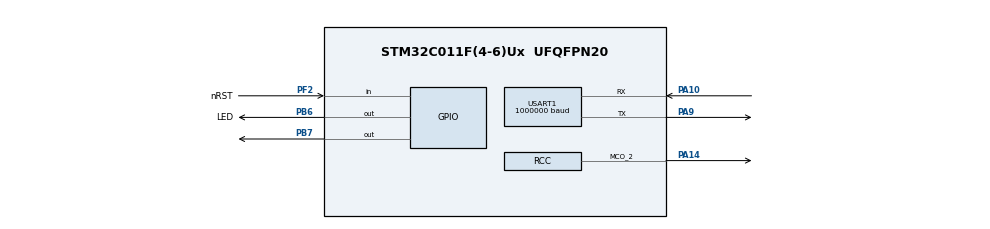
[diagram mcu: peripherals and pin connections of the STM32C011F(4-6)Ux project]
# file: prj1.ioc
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ADC1.Channel-0\#ChannelRegularConversion=ADC_CHANNEL_VREFINT
ADC1.NbrOfConversionFlag=1
ADC1.Rank-0\#ChannelRegularConversion=1
ADC1.SamplingTime-0\#ChannelRegularConversion=ADC_SAMPLINGTIME_COMMON_1
ADC1.SelectedChannel=ADC_CHANNEL_VREFINT
ADC1.master=1
Mcu.Family=STM32C0
Mcu.Name=STM32C011F(4-6)Ux
Mcu.Package=UFQFPN20
NVIC.TIM1_BRK_UP_TRG_COM_IRQn=true\:0\:0\:false\:false\:true\:true\:true\:true
NVIC.USART1_IRQn=true\:0\:0\:false\:false\:true\:true\:true\:true
PA10\ [PA12].GPIO_FMPA10=SYSCFG_FASTMODEPLUS_PA10
PA10\ [PA12].GPIO_ModeDefaultPP=GPIO_MODE_AF_PP
PA10\ [PA12].GPIO_PuPd=GPIO_NOPULL
PA10\ [PA12].GPIO_Speed=GPIO_SPEED_FREQ_VERY_HIGH
PA10\ [PA12].Mode=Asynchronous
PA10\ [PA12].Signal=USART1_RX
PA13.Signal=DEBUG_SWDIO
PA14-BOOT0.GPIO_Speed=GPIO_SPEED_FREQ_VERY_HIGH
PA14-BOOT0.Mode=Clock-out2
PA14-BOOT0.Signal=RCC_MCO_2
PA9\ [PA11].GPIO_FMPA9=SYSCFG_FASTMODEPLUS_PA9
PA9\ [PA11].GPIO_PuPd=GPIO_NOPULL
PA9\ [PA11].GPIO_Speed=GPIO_SPEED_FREQ_VERY_HIGH
PA9\ [PA11].Mode=Asynchronous
PA9\ [PA11].Signal=USART1_TX
PB6.GPIO_Label=LED
PB6.GPIO_Speed=GPIO_SPEED_FREQ_VERY_HIGH
PB6.PinState=GPIO_PIN_RESET
PB6.Signal=GPIO_Output
PB7.Signal=GPIO_Output
PF2-NRST.GPIO_Label=nRST
PF2-NRST.Signal=GPIO_Input
ProjectManager.HeapSize=0x200
ProjectManager.StackSize=0x400
ProjectManager.TargetToolchain=MDK-ARM V5.32
RCC.ADCFreq_Value=48000000
RCC.AHBFreq_Value=48000000
RCC.CortexFreq_Value=48000000
RCC.EXTERNAL_CLOCK_VALUE=12288000
RCC.HCLKFreq_Value=48000000
RCC.HSE_VALUE=8000000
RCC.HSISYSCLKDivider=RCC_HSI_DIV1
RCC.HSI_VALUE=48000000
RCC.LSE_VALUE=32768
RCC.SYSCLKFreq_VALUE=48000000
TIM1.Period=9
TIM1.Prescaler=4799
USART1.BaudRate=1000000
USART1.VirtualMode-Asynchronous=VM_ASYNC
VP_ADC1_Vref_Input.Mode=IN-Vrefint
VP_SYS_VS_PINREMAP.Mode=PINREMAP
VP_SYS_VS_PINREMAP_10_12.Mode=PINREMAP_10_12
VP_TIM1_VS_ClockSourceINT.Mode=Internal
board=STM32C0116-DK

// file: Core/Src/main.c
/* USER CODE BEGIN Header */
/**
  ******************************************************************************
  * @file           : main.c
  * @brief          : Main program body
  ******************************************************************************
  * @attention
  *
  * Copyright (c) 2023 STMicroelectronics.
  * All rights reserved.
  *
  * This software is licensed under terms that can be found in the LICENSE file
  * in the root directory of this software component.
  * If no LICENSE file comes with this software, it is provided AS-IS.
  *
  ******************************************************************************
  */
/* USER CODE END Header */
#include "main.h"
#include "adc.h"
#include "tim.h"
#include "usart.h"
#include "gpio.h"

/* USER CODE BEGIN Includes */
#include <stdio.h>           //add for sprintf
#include "string.h"          //add for memcmp

/* USER CODE END Includes */

/* USER CODE BEGIN PTD */

//#define TXMODE
#define RXMODE

extern volatile uint8_t flg_rx;
extern volatile uint8_t irxdata[256];
extern volatile uint8_t irxdata2[256];
extern volatile uint32_t irxnum;

extern volatile uint8_t timer1_flag;
extern  volatile uint32_t itimecount;

/* USER CODE END PTD */

/* USER CODE BEGIN PD */

  #define ADC_CALIBRATION_TIMEOUT_MS       (   1UL)
  #define ADC_ENABLE_TIMEOUT_MS            (   1UL)
  #define ADC_DISABLE_TIMEOUT_MS           (   1UL)
  #define ADC_STOP_CONVERSION_TIMEOUT_MS   (   1UL)
  #define ADC_CONVERSION_TIMEOUT_MS        (4000UL)

  /* Delay between ADC end of calibration and ADC enable.                     */
  /* Delay estimation in CPU cycles: Case of ADC enable done                  */
  /* immediately after ADC calibration, ADC clock setting slow                */
  /* (LL_ADC_CLOCK_ASYNC_DIV32). Use a higher delay if ratio                  */
  /* (CPU clock / ADC clock) is above 32.                                     */
  #define ADC_DELAY_CALIB_ENABLE_CPU_CYCLES  (LL_ADC_DELAY_CALIB_ENABLE_ADC_CYCLES * 32)

/* Definitions of environment analog values */
  /* Value of analog reference voltage (Vref+), connected to analog voltage   */
  /* supply Vdda (unit: mV).                                                  */
  #define VDDA_APPLI                       (3300UL)

/* Definitions of data related to this example */
  /* Init variable out of expected ADC conversion data range */
  #define VAR_CONVERTED_DATA_INIT_VALUE    (__LL_ADC_DIGITAL_SCALE(LL_ADC_RESOLUTION_12B) + 1)

/* USER CODE END PD */

/* USER CODE BEGIN PM */

uint8_t TESTDATA[256]=
{
 0x00,0x01,0x02,0x03,0x04,0x05,0x06,0x07,0x08,0x09,0x0A,0x0B,0x0C,0x0D,0x0E,0x0F,0x10,0x11,0x12,0x13,0x14,0x15,0x16,0x17,0x18,0x19,0x1A,0x1B,0x1C,0x1D,0x1E,0x1F,
 0x20,0x21,0x22,0x23,0x24,0x25,0x26,0x27,0x28,0x29,0x2A,0x2B,0x2C,0x2D,0x2E,0x2F,0x30,0x31,0x32,0x33,0x34,0x35,0x36,0x37,0x38,0x39,0x3A,0x3B,0x3C,0x3D,0x3E,0x3F,
 0x40,0x41,0x42,0x43,0x44,0x45,0x46,0x47,0x48,0x49,0x4A,0x4B,0x4C,0x4D,0x4E,0x4F,0x50,0x51,0x52,0x53,0x54,0x55,0x56,0x57,0x58,0x59,0x5A,0x5B,0x5C,0x5D,0x5E,0x5F,
 0x60,0x61,0x62,0x63,0x64,0x65,0x66,0x67,0x68,0x69,0x6A,0x6B,0x6C,0x6D,0x6E,0x6F,0x70,0x71,0x72,0x73,0x74,0x75,0x76,0x77,0x78,0x79,0x7A,0x7B,0x7C,0x7D,0x7E,0x7F,
 0x80,0x81,0x82,0x83,0x84,0x85,0x86,0x87,0x88,0x89,0x8A,0x8B,0x8C,0x8D,0x8E,0x8F,0x90,0x91,0x92,0x93,0x94,0x95,0x96,0x97,0x98,0x99,0x9A,0x9B,0x9C,0x9D,0x9E,0x9F,
 0xA0,0xA1,0xA2,0xA3,0xA4,0xA5,0xA6,0xA7,0xA8,0xA9,0xAA,0xAB,0xAC,0xAD,0xAE,0xAF,0xB0,0xB1,0xB2,0xB3,0xB4,0xB5,0xB6,0xB7,0xB8,0xB9,0xBA,0xBB,0xBC,0xBD,0xBE,0xBF,
 0xC0,0xC1,0xC2,0xC3,0xC4,0xC5,0xC6,0xC7,0xC8,0xC9,0xCA,0xCB,0xCC,0xCD,0xCE,0xCF,0xD0,0xD1,0xD2,0xD3,0xD4,0xD5,0xD6,0xD7,0xD8,0xD9,0xDA,0xDB,0xDC,0xDD,0xDE,0xDF,
 0xE0,0xE1,0xE2,0xE3,0xE4,0xE5,0xE6,0xE7,0xE8,0xE9,0xEA,0xEB,0xEC,0xED,0xEE,0xEF,0xF0,0xF1,0xF2,0xF3,0xF4,0xF5,0xF6,0xF7,0xF8,0xF9,0xFA,0xFB,0xFC,0xFD,0xFE,0xFF
};

uint8_t TESTDATA2[TXRXDATALEN]=
{
 0x00,0x01,0x02,0x03,0x04,0x05,0x06,0x07,0x08,0x09,0x0A,0x0B,0x0C,0x0D,0x0E,0x0F,0x10,0x11,0x12,0x13,0x14,0x15,0x16,0x17,0x18,0x19,0x1A,0x1B,0x1C,0x1D
};

uint8_t txstr[TXRXDATALEN+2]={0};

/* USER CODE END PM */

/* USER CODE BEGIN PV */
//uint8_t ommo_mode = DEFAULT_MODE;
//uint8_t ommo_status = DEFAULT_STATUS;

///* Variables for ADC conversion data */
//__IO uint16_t uhADCxConvertedData = VAR_CONVERTED_DATA_INIT_VALUE; /* ADC group regular conversion data */

///* Variables for ADC conversion data computation to physical values */
//uint16_t uhADCxConvertedData_Voltage_mVolt = 0;  /* Value of voltage calculated from ADC conversion data (unit: mV) */

/* USER CODE END PV */

void SystemClock_Config(void);
/* USER CODE BEGIN PFP */
//void ADC_Activate(void);
//void ConversionStartPoll_ADC_GrpRegular(void);

/* USER CODE END PFP */

/* USER CODE BEGIN 0 */

void iputs1(char *msg)
{
   while(*msg)
   Send_Data_To_UART1(*msg++);
}

void iputbytes1(uint8_t *msg, uint32_t ilen)
{
   while(ilen--)
   Send_Data_To_UART1(*msg++);
}

void Send_Data_To_UART1 (uint8_t c)
{

   USART1->TDR = c;

   while( (USART1-> ISR & (1<<7) ) ==0 );
}

/**
  * @brief  Perform ADC activation procedure to make it ready to convert
  *         (ADC instance: ADC1).
  * @param  None
  * @retval None
  */
//void ADC_Activate(void)
//{
//  __IO uint32_t wait_loop_index = 0U;
//  __IO uint32_t backup_setting_adc_dma_transfer = 0U;
//  #if (USE_TIMEOUT == 1)
//  uint32_t Timeout = 0U; /* Variable used for timeout management */
//  #endif /* USE_TIMEOUT */

//  /*## Operation on ADC hierarchical scope: ADC instance #####################*/

//  /* Note: Hardware constraint (refer to description of the functions         */
//  /*       below):                                                            */
//  /*       On this STM32 series, setting of these features is conditioned to  */
//  /*       ADC state:                                                         */
//  /*       ADC must be disabled.                                              */
//  /* Note: In this example, all these checks are not necessary but are        */
//  /*       implemented anyway to show the best practice usages                */
//  /*       corresponding to reference manual procedure.                       */
//  /*       Software can be optimized by removing some of these checks, if     */
//  /*       they are not relevant considering previous settings and actions    */
//  /*       in user application.                                               */
//  if (LL_ADC_IsEnabled(ADC1) == 0)
//  {
//    /* Enable ADC internal voltage regulator */
//    LL_ADC_EnableInternalRegulator(ADC1);

//    /* Delay for ADC internal voltage regulator stabilization.                */
//    /* Compute number of CPU cycles to wait for, from delay in us.            */
//    /* Note: Variable divided by 2 to compensate partially                    */
//    /*       CPU processing cycles (depends on compilation optimization).     */
//    /* Note: If system core clock frequency is below 200kHz, wait time        */
//    /*       is only a few CPU processing cycles.                             */
//    wait_loop_index = ((LL_ADC_DELAY_INTERNAL_REGUL_STAB_US * (SystemCoreClock / (100000 * 2))) / 10);
//    while(wait_loop_index != 0)
//    {
//      wait_loop_index--;
//    }

//    /* Disable ADC DMA transfer request during calibration */
//    /* Note: Specificity of this STM32 series: Calibration factor is          */
//    /*       available in data register and also transferred by DMA.          */
//    /*       To not insert ADC calibration factor among ADC conversion data   */
//    /*       in DMA destination address, DMA transfer must be disabled during */
//    /*       calibration.                                                     */
//    backup_setting_adc_dma_transfer = LL_ADC_REG_GetDMATransfer(ADC1);
//    LL_ADC_REG_SetDMATransfer(ADC1, LL_ADC_REG_DMA_TRANSFER_NONE);

//    /* Run ADC self calibration */
//    LL_ADC_StartCalibration(ADC1);

//    /* Poll for ADC effectively calibrated */
//    #if (USE_TIMEOUT == 1)
//    Timeout = ADC_CALIBRATION_TIMEOUT_MS;
//    #endif /* USE_TIMEOUT */

//    while (LL_ADC_IsCalibrationOnGoing(ADC1) != 0)
//    {
//    #if (USE_TIMEOUT == 1)
//      /* Check Systick counter flag to decrement the time-out value */
//      if (LL_SYSTICK_IsActiveCounterFlag())
//      {
//        if(Timeout-- == 0)
//        {
//          /* Error: Time-out */
//          Error_Handler();
//        }
//      }
//    #endif /* USE_TIMEOUT */
//    }

//    /* Restore ADC DMA transfer request after calibration */
//    LL_ADC_REG_SetDMATransfer(ADC1, backup_setting_adc_dma_transfer);

//    /* Delay between ADC end of calibration and ADC enable.                   */
//    /* Note: Variable divided by 2 to compensate partially                    */
//    /*       CPU processing cycles (depends on compilation optimization).     */
//    wait_loop_index = (ADC_DELAY_CALIB_ENABLE_CPU_CYCLES >> 1);
//    while(wait_loop_index != 0)
//    {
//      wait_loop_index--;
//    }

//    /* Enable ADC */
//    LL_ADC_Enable(ADC1);

//    /* Poll for ADC ready to convert */
//    #if (USE_TIMEOUT == 1)
//    Timeout = ADC_ENABLE_TIMEOUT_MS;
//    #endif /* USE_TIMEOUT */

//    while (LL_ADC_IsActiveFlag_ADRDY(ADC1) == 0)
//    {
//    #if (USE_TIMEOUT == 1)
//      /* Check Systick counter flag to decrement the time-out value */
//      if (LL_SYSTICK_IsActiveCounterFlag())
//      {
//        if(Timeout-- == 0)
//        {
//          /* Error: Time-out */
//          Error_Handler();
//        }
//      }
//    #endif /* USE_TIMEOUT */
//    }

//    /* Note: ADC flag ADRDY is not cleared here to be able to check ADC       */
//    /*       status afterwards.                                               */
//    /*       This flag should be cleared at ADC Deactivation, before a new    */
//    /*       ADC activation, using function "LL_ADC_ClearFlag_ADRDY()".       */
//  }

//  /*## Operation on ADC hierarchical scope: ADC group regular ################*/
//  /* Note: No operation on ADC group regular performed here.                  */
//  /*       ADC group regular conversions to be performed after this function  */
//  /*       using function:                                                    */
//  /*       "LL_ADC_REG_StartConversion();"                                    */

//  /*## Operation on ADC hierarchical scope: ADC group injected ###############*/
//  /* Note: Feature not available on this STM32 series */

//}

///**
//  * @brief  Perform ADC group regular conversion start, poll for conversion
//  *         completion.
//  *         (ADC instance: ADC1).
//  * @note   This function does not perform ADC group regular conversion stop:
//  *         intended to be used with ADC in single mode, trigger SW start
//  *         (only 1 ADC conversion done at each trigger, no conversion stop
//  *         needed).
//  *         In case of continuous mode or conversion trigger set to
//  *         external trigger, ADC group regular conversion stop must be added
//  *         after polling for conversion data.
//  * @param  None
//  * @retval None
//  */
//void ConversionStartPoll_ADC_GrpRegular(void)
//{
//  #if (USE_TIMEOUT == 1)
//  uint32_t Timeout = 0U; /* Variable used for timeout management */
//  #endif /* USE_TIMEOUT */

//  /* Start ADC group regular conversion */
//  /* Note: Hardware constraint (refer to description of the function          */
//  /*       below):                                                            */
//  /*       On this STM32 series, setting of this feature is conditioned to    */
//  /*       ADC state:                                                         */
//  /*       ADC must be enabled without conversion on going on group regular,  */
//  /*       without ADC disable command on going.                              */
//  /* Note: In this example, all these checks are not necessary but are        */
//  /*       implemented anyway to show the best practice usages                */
//  /*       corresponding to reference manual procedure.                       */
//  /*       Software can be optimized by removing some of these checks, if     */
//  /*       they are not relevant considering previous settings and actions    */
//  /*       in user application.                                               */
//  if ((LL_ADC_IsEnabled(ADC1) == 1)               &&
//      (LL_ADC_IsDisableOngoing(ADC1) == 0)        &&
//      (LL_ADC_REG_IsConversionOngoing(ADC1) == 0)   )
//  {
//    LL_ADC_REG_StartConversion(ADC1);
//  }
//  else
//  {
//    /* Error: ADC conversion start could not be performed */
//    Error_Handler();
//  }

//  #if (USE_TIMEOUT == 1)
//  Timeout = ADC_UNITARY_CONVERSION_TIMEOUT_MS;
//  #endif /* USE_TIMEOUT */

//  while (LL_ADC_IsActiveFlag_EOC(ADC1) == 0)
//  {
//  #if (USE_TIMEOUT == 1)
//    /* Check Systick counter flag to decrement the time-out value */
//    if (LL_SYSTICK_IsActiveCounterFlag())
//    {
//      if(Timeout-- == 0)
//      {
//        Error_Handler();
//      }
//    }
//  #endif /* USE_TIMEOUT */
//  }

//  /* Clear flag ADC group regular end of unitary conversion */
//  /* Note: This action is not needed here, because flag ADC group regular   */
//  /*       end of unitary conversion is cleared automatically when          */
//  /*       software reads conversion data from ADC data register.           */
//  /*       Nevertheless, this action is done anyway to show how to clear    */
//  /*       this flag, needed if conversion data is not always read          */
//  /*       or if group injected end of unitary conversion is used (for      */
//  /*       devices with group injected available).                          */
//  LL_ADC_ClearFlag_EOC(ADC1);

//}

/* USER CODE END 0 */

int main(void)
{

  /* MCU Configuration--------------------------------------------------------*/

  /* Reset of all peripherals, Initializes the Flash interface and the Systick. */
  HAL_Init();

  /* Configure the system clock */
  SystemClock_Config();

  /* Initialize all configured peripherals */
  MX_GPIO_Init();
  MX_USART1_UART_Init();
  MX_TIM1_Init();
  MX_ADC1_Init();
  /* USER CODE BEGIN 2 */
  //LL_RCC_ConfigMCO(LL_RCC_MCO1SOURCE_SYSCLK, LL_RCC_MCO1_DIV_4);   //12Mhz = 48Mhz/4
  LL_RCC_ConfigMCO2(LL_RCC_MCO2SOURCE_SYSCLK, LL_RCC_MCO2_DIV_4);   //12Mhz = 48Mhz/4

  iputs1("start...");

  /* USER CODE END 2 */

  /* Infinite loop */
  /* USER CODE BEGIN WHILE */

  /* Activate ADC */
  /* Perform ADC activation procedure to make it ready to convert. */
  //ADC_Activate();

  while (1)
  {
    //LL_mDelay(1000);
     static uint8_t flg_dataerr =0;
     static uint32_t itxcount=0;
     static uint32_t irxcount=0;

      /////* Perform ADC group regular conversion start, poll for conversion        */
      /////* completion.                                                            */
      ////ConversionStartPoll_ADC_GrpRegular();

      /////* Retrieve ADC conversion data */
      ////uhADCxConvertedData = LL_ADC_REG_ReadConversionData32(ADC1);

      /////* Computation of ADC conversions raw data to physical values             */
      /////* using helper macro.                                                    */
      ////uhADCxConvertedData_Voltage_mVolt = __LL_ADC_CALC_DATA_TO_VOLTAGE(VDDA_APPLI, uhADCxConvertedData, LL_ADC_RESOLUTION_12B);

    /* USER CODE END WHILE */

    /* USER CODE BEGIN 3 */

      //uart tx
      if(itimecount>=1)   //1* 1ms =1ms
      {
         itimecount=0;

        //Send_Data_To_UART1(uhADCxConvertedData);

         #if (defined TXMODE)

            itxcount++;

            iputbytes1((uint8_t *)TESTDATA2,TXRXDATALEN);

          #endif

      }

      #if (defined TXMODE)
      if(itxcount >=1000)  //1s
      {
         itxcount=0;

         LL_GPIO_TogglePin( LED_GPIO_Port, LED_Pin);
         LL_GPIO_TogglePin( GPIOB, LL_GPIO_PIN_7);

      }
      #endif

     //uart rx
     if (flg_rx==1)
     {
        flg_rx=0;

        irxcount++;

         //iputs1("rx in\r\n");
         //iputbytes1((uint8_t *)irxdata2,TXRXDATALEN);

         if(memcmp((void*)TESTDATA2, (void*)irxdata2, TXRXDATALEN) ==0)
         {
           iputs1("ok");
           //flg_dataerr=0;
         }
         else
         {
           iputs1("er");
           flg_dataerr=1;
         }

     }

      if(irxcount >=1000)  //1s
      {
         irxcount=0;

         if(flg_dataerr==0)
         {
            LL_GPIO_TogglePin( LED_GPIO_Port, LED_Pin);
            LL_GPIO_TogglePin( GPIOB, LL_GPIO_PIN_7);
         }

         flg_dataerr=0;
      }

  }
  /* USER CODE END 3 */
}

void SystemClock_Config(void)
{

  LL_FLASH_SetLatency(LL_FLASH_LATENCY_1);

  /* HSI configuration and activation */
  LL_RCC_HSI_Enable();
  while(LL_RCC_HSI_IsReady() != 1)
  {
  }

  LL_RCC_HSI_SetCalibTrimming(64);
  LL_RCC_SetHSIDiv(LL_RCC_HSI_DIV_1);
  /* Set AHB prescaler*/
  LL_RCC_SetAHBPrescaler(LL_RCC_HCLK_DIV_1);

  /* Sysclk activation on the HSI */
  LL_RCC_SetSysClkSource(LL_RCC_SYS_CLKSOURCE_HSI);
  while(LL_RCC_GetSysClkSource() != LL_RCC_SYS_CLKSOURCE_STATUS_HSI)
  {
  }

  /* Set APB1 prescaler*/
  LL_RCC_SetAPB1Prescaler(LL_RCC_APB1_DIV_1);
  /* Update CMSIS variable (which can be updated also through SystemCoreClockUpdate function) */
  LL_SetSystemCoreClock(48000000);

   /* Update the time base */
  if (HAL_InitTick (TICK_INT_PRIORITY) != HAL_OK)
  {
    Error_Handler();
  }
  LL_RCC_ConfigMCO(LL_RCC_MCO2SOURCE_SYSCLK, LL_RCC_MCO2_DIV_1);
}

void Error_Handler(void)
{
  __disable_irq();
  while (1)
  {
  }
}
